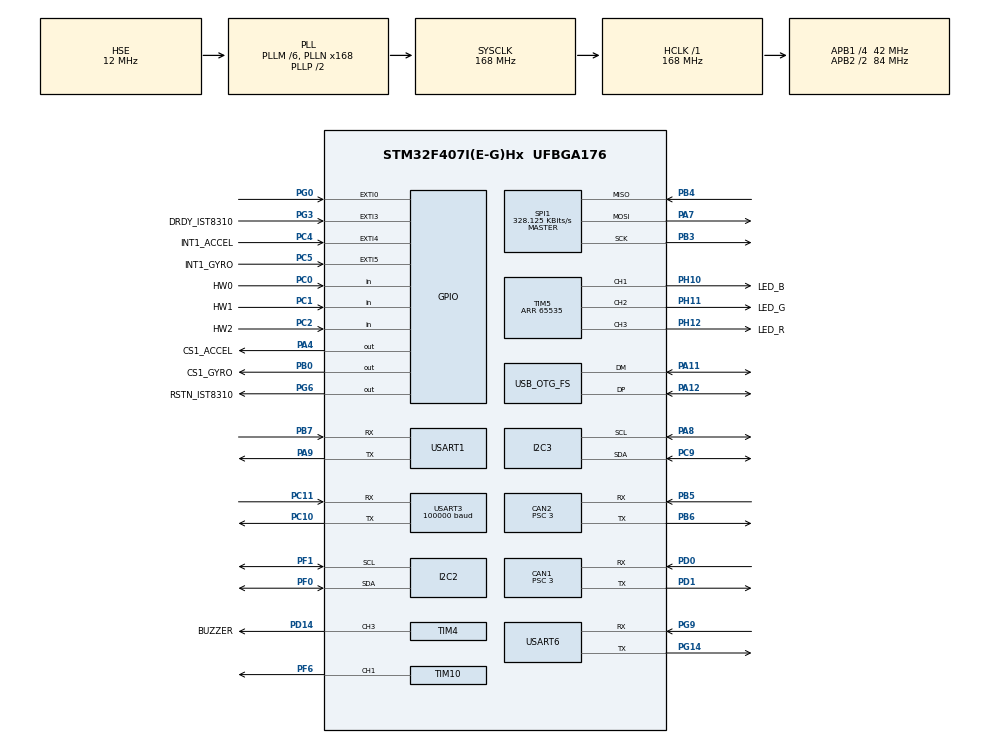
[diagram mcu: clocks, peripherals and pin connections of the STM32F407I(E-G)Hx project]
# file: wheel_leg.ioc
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CAN1.BS1=CAN_BS1_10TQ
CAN1.BS2=CAN_BS2_3TQ
CAN1.CalculateBaudRate=1000000
CAN1.CalculateTimeBit=1000
CAN1.CalculateTimeQuantum=71.42857142857143
CAN1.NART=ENABLE
CAN1.Prescaler=3
CAN2.BS1=CAN_BS1_10TQ
CAN2.BS2=CAN_BS2_3TQ
CAN2.CalculateBaudRate=1000000
CAN2.CalculateTimeBit=1000
CAN2.CalculateTimeQuantum=71.42857142857143
CAN2.NART=ENABLE
CAN2.Prescaler=3
Dma.Request0=USART3_RX
Dma.Request1=SPI1_RX
Dma.Request2=SPI1_TX
Dma.Request3=USART1_RX
Dma.Request4=USART1_TX
Dma.Request5=USART6_TX
Dma.Request6=USART6_RX
Dma.SPI1_RX.1.Direction=DMA_PERIPH_TO_MEMORY
Dma.SPI1_RX.1.FIFOMode=DMA_FIFOMODE_DISABLE
Dma.SPI1_RX.1.Instance=DMA2_Stream2
Dma.SPI1_RX.1.MemDataAlignment=DMA_MDATAALIGN_BYTE
Dma.SPI1_RX.1.MemInc=DMA_MINC_ENABLE
Dma.SPI1_RX.1.Mode=DMA_NORMAL
Dma.SPI1_RX.1.PeriphDataAlignment=DMA_PDATAALIGN_BYTE
Dma.SPI1_RX.1.PeriphInc=DMA_PINC_DISABLE
Dma.SPI1_RX.1.Priority=DMA_PRIORITY_VERY_HIGH
Dma.SPI1_TX.2.Direction=DMA_MEMORY_TO_PERIPH
Dma.SPI1_TX.2.FIFOMode=DMA_FIFOMODE_DISABLE
Dma.SPI1_TX.2.Instance=DMA2_Stream3
Dma.SPI1_TX.2.MemDataAlignment=DMA_MDATAALIGN_BYTE
Dma.SPI1_TX.2.MemInc=DMA_MINC_ENABLE
Dma.SPI1_TX.2.Mode=DMA_NORMAL
Dma.SPI1_TX.2.PeriphDataAlignment=DMA_PDATAALIGN_BYTE
Dma.SPI1_TX.2.PeriphInc=DMA_PINC_DISABLE
Dma.SPI1_TX.2.Priority=DMA_PRIORITY_HIGH
Dma.USART1_RX.3.Direction=DMA_PERIPH_TO_MEMORY
Dma.USART1_RX.3.FIFOMode=DMA_FIFOMODE_DISABLE
Dma.USART1_RX.3.Instance=DMA2_Stream5
Dma.USART1_RX.3.MemDataAlignment=DMA_MDATAALIGN_BYTE
Dma.USART1_RX.3.MemInc=DMA_MINC_ENABLE
Dma.USART1_RX.3.Mode=DMA_NORMAL
Dma.USART1_RX.3.PeriphDataAlignment=DMA_PDATAALIGN_BYTE
Dma.USART1_RX.3.PeriphInc=DMA_PINC_DISABLE
Dma.USART1_RX.3.Priority=DMA_PRIORITY_HIGH
Dma.USART1_TX.4.Direction=DMA_MEMORY_TO_PERIPH
Dma.USART1_TX.4.FIFOMode=DMA_FIFOMODE_DISABLE
Dma.USART1_TX.4.Instance=DMA2_Stream7
Dma.USART1_TX.4.MemDataAlignment=DMA_MDATAALIGN_BYTE
Dma.USART1_TX.4.MemInc=DMA_MINC_ENABLE
Dma.USART1_TX.4.Mode=DMA_NORMAL
Dma.USART1_TX.4.PeriphDataAlignment=DMA_PDATAALIGN_BYTE
Dma.USART1_TX.4.PeriphInc=DMA_PINC_DISABLE
Dma.USART1_TX.4.Priority=DMA_PRIORITY_MEDIUM
Dma.USART3_RX.0.Direction=DMA_PERIPH_TO_MEMORY
Dma.USART3_RX.0.FIFOMode=DMA_FIFOMODE_DISABLE
Dma.USART3_RX.0.Instance=DMA1_Stream1
Dma.USART3_RX.0.MemDataAlignment=DMA_MDATAALIGN_BYTE
Dma.USART3_RX.0.MemInc=DMA_MINC_ENABLE
Dma.USART3_RX.0.Mode=DMA_NORMAL
Dma.USART3_RX.0.PeriphDataAlignment=DMA_PDATAALIGN_BYTE
Dma.USART3_RX.0.PeriphInc=DMA_PINC_DISABLE
Dma.USART3_RX.0.Priority=DMA_PRIORITY_VERY_HIGH
Dma.USART6_RX.6.Direction=DMA_PERIPH_TO_MEMORY
Dma.USART6_RX.6.FIFOMode=DMA_FIFOMODE_DISABLE
Dma.USART6_RX.6.Instance=DMA2_Stream1
Dma.USART6_RX.6.MemDataAlignment=DMA_MDATAALIGN_BYTE
Dma.USART6_RX.6.MemInc=DMA_MINC_ENABLE
Dma.USART6_RX.6.Mode=DMA_NORMAL
Dma.USART6_RX.6.PeriphDataAlignment=DMA_PDATAALIGN_BYTE
Dma.USART6_RX.6.PeriphInc=DMA_PINC_DISABLE
Dma.USART6_RX.6.Priority=DMA_PRIORITY_HIGH
Dma.USART6_TX.5.Direction=DMA_MEMORY_TO_PERIPH
Dma.USART6_TX.5.FIFOMode=DMA_FIFOMODE_DISABLE
Dma.USART6_TX.5.Instance=DMA2_Stream6
Dma.USART6_TX.5.MemDataAlignment=DMA_MDATAALIGN_BYTE
Dma.USART6_TX.5.MemInc=DMA_MINC_ENABLE
Dma.USART6_TX.5.Mode=DMA_NORMAL
Dma.USART6_TX.5.PeriphDataAlignment=DMA_PDATAALIGN_BYTE
Dma.USART6_TX.5.PeriphInc=DMA_PINC_DISABLE
Dma.USART6_TX.5.Priority=DMA_PRIORITY_MEDIUM
FREERTOS.INCLUDE_eTaskGetState=1
FREERTOS.INCLUDE_pcTaskGetTaskName=1
FREERTOS.INCLUDE_uxTaskGetStackHighWaterMark=1
FREERTOS.INCLUDE_uxTaskGetStackHighWaterMark2=0
FREERTOS.INCLUDE_vTaskCleanUpResources=1
FREERTOS.INCLUDE_vTaskDelayUntil=1
FREERTOS.INCLUDE_xEventGroupSetBitFromISR=1
FREERTOS.INCLUDE_xQueueGetMutexHolder=1
FREERTOS.INCLUDE_xSemaphoreGetMutexHolder=1
FREERTOS.INCLUDE_xTaskAbortDelay=1
FREERTOS.INCLUDE_xTaskGetCurrentTaskHandle=1
FREERTOS.INCLUDE_xTaskGetHandle=1
FREERTOS.INCLUDE_xTimerPendFunctionCall=1
FREERTOS.Tasks01=defaultTask,0,128,StartDefaultTask,Default,NULL,Dynamic,NULL,NULL
FREERTOS.configENABLE_FPU=1
FREERTOS.configGENERATE_RUN_TIME_STATS=0
FREERTOS.configTOTAL_HEAP_SIZE=24576
FREERTOS.configUSE_NEWLIB_REENTRANT=1
FREERTOS.configUSE_TIMERS=1
I2C3.I2C_Mode=I2C_Fast
Mcu.Family=STM32F4
Mcu.Name=STM32F407I(E-G)Hx
Mcu.Package=UFBGA176
NVIC.CAN1_RX0_IRQn=true\:5\:0\:false\:false\:true\:true\:true\:true\:true
NVIC.CAN1_TX_IRQn=true\:5\:0\:false\:false\:true\:true\:true\:true\:true
NVIC.CAN2_RX0_IRQn=true\:5\:0\:false\:false\:true\:true\:true\:true\:true
NVIC.CAN2_TX_IRQn=true\:5\:0\:false\:false\:true\:true\:true\:true\:true
NVIC.DMA1_Stream1_IRQn=true\:5\:0\:false\:false\:true\:true\:false\:true\:true
NVIC.DMA2_Stream1_IRQn=true\:5\:0\:false\:false\:true\:true\:false\:true\:true
NVIC.DMA2_Stream2_IRQn=true\:5\:0\:false\:false\:true\:false\:false\:true\:true
NVIC.DMA2_Stream3_IRQn=true\:5\:0\:false\:false\:true\:true\:false\:true\:true
NVIC.DMA2_Stream5_IRQn=true\:5\:0\:false\:false\:true\:true\:false\:true\:true
NVIC.DMA2_Stream6_IRQn=true\:5\:0\:false\:false\:true\:true\:false\:true\:true
NVIC.DMA2_Stream7_IRQn=true\:5\:0\:false\:false\:true\:true\:false\:true\:true
NVIC.EXTI0_IRQn=true\:5\:0\:false\:false\:true\:true\:true\:true\:true
NVIC.EXTI3_IRQn=true\:5\:0\:false\:false\:true\:true\:true\:true\:true
NVIC.EXTI4_IRQn=true\:5\:0\:false\:false\:true\:true\:true\:true\:true
NVIC.EXTI9_5_IRQn=true\:5\:0\:false\:false\:true\:false\:true\:true\:true
NVIC.OTG_FS_IRQn=true\:5\:0\:false\:false\:true\:true\:false\:true\:true
NVIC.PriorityGroup=NVIC_PRIORITYGROUP_4
NVIC.TIM2_IRQn=true\:15\:0\:false\:false\:true\:false\:false\:true\:true
NVIC.TimeBase=TIM2_IRQn
NVIC.TimeBaseIP=TIM2
NVIC.USART1_IRQn=true\:5\:0\:false\:false\:true\:true\:true\:true\:true
NVIC.USART3_IRQn=true\:5\:0\:false\:false\:false\:true\:true\:true\:true
NVIC.USART6_IRQn=true\:5\:0\:false\:false\:true\:true\:true\:true\:true
PA11.Mode=Device_Only
PA11.Signal=USB_OTG_FS_DM
PA12.Mode=Device_Only
PA12.Signal=USB_OTG_FS_DP
PA13.Mode=Serial_Wire
PA13.Signal=SYS_JTMS-SWDIO
PA14.Mode=Serial_Wire
PA14.Signal=SYS_JTCK-SWCLK
PA4.GPIO_Label=CS1_ACCEL
PA4.GPIO_PuPd=GPIO_PULLUP
PA4.GPIO_Speed=GPIO_SPEED_FREQ_HIGH
PA4.PinState=GPIO_PIN_SET
PA4.Signal=GPIO_Output
PA7.Mode=Full_Duplex_Master
PA7.Signal=SPI1_MOSI
PA8.Mode=I2C
PA8.Signal=I2C3_SCL
PA9.Mode=Asynchronous
PA9.Signal=USART1_TX
PB0.GPIO_Label=CS1_GYRO
PB0.GPIO_PuPd=GPIO_PULLUP
PB0.GPIO_Speed=GPIO_SPEED_FREQ_HIGH
PB0.PinState=GPIO_PIN_SET
PB0.Signal=GPIO_Output
PB3.Mode=Full_Duplex_Master
PB3.Signal=SPI1_SCK
PB4.Mode=Full_Duplex_Master
PB4.Signal=SPI1_MISO
PB5.Mode=CAN_Activate
PB5.Signal=CAN2_RX
PB6.Mode=CAN_Activate
PB6.Signal=CAN2_TX
PB7.Mode=Asynchronous
PB7.Signal=USART1_RX
PC0.GPIO_Label=HW0
PC0.Signal=GPIO_Input
PC1.GPIO_Label=HW1
PC1.Signal=GPIO_Input
PC10.Mode=Asynchronous
PC10.Signal=USART3_TX
PC11.Mode=Asynchronous
PC11.Signal=USART3_RX
PC2.GPIO_Label=HW2
PC2.Signal=GPIO_Input
PC4.GPIO_Label=INT1_ACCEL
PC4.GPIO_ModeDefaultEXTI=GPIO_MODE_IT_FALLING
PC4.GPIO_PuPd=GPIO_PULLUP
PC4.Signal=GPXTI4
PC5.GPIO_Label=INT1_GYRO
PC5.GPIO_ModeDefaultEXTI=GPIO_MODE_IT_FALLING
PC5.GPIO_PuPd=GPIO_PULLUP
PC5.Signal=GPXTI5
PC9.Mode=I2C
PC9.Signal=I2C3_SDA
PD0.Mode=CAN_Activate
PD0.Signal=CAN1_RX
PD1.Mode=CAN_Activate
PD1.Signal=CAN1_TX
PD14.GPIO_Label=BUZZER
PD14.GPIO_PuPd=GPIO_PULLUP
PD14.GPIO_Speed=GPIO_SPEED_FREQ_VERY_HIGH
PD14.Signal=S_TIM4_CH3
PF0.Mode=I2C
PF0.Signal=I2C2_SDA
PF1.Mode=I2C
PF1.Signal=I2C2_SCL
PF6.GPIO_PuPd=GPIO_PULLUP
PF6.GPIO_Speed=GPIO_SPEED_FREQ_HIGH
PF6.Signal=S_TIM10_CH1
PG0.GPIO_ModeDefaultEXTI=GPIO_MODE_IT_FALLING
PG0.GPIO_PuPd=GPIO_PULLUP
PG0.Signal=GPXTI0
PG14.Mode=Asynchronous
PG14.Signal=USART6_TX
PG3.GPIO_Label=DRDY_IST8310
PG3.GPIO_ModeDefaultEXTI=GPIO_MODE_IT_FALLING
PG3.GPIO_PuPd=GPIO_PULLUP
PG3.Signal=GPXTI3
PG6.GPIO_Label=RSTN_IST8310
PG6.GPIO_ModeDefaultOutputPP=GPIO_MODE_OUTPUT_PP
PG6.GPIO_PuPd=GPIO_PULLUP
PG6.GPIO_Speed=GPIO_SPEED_FREQ_MEDIUM
PG6.PinState=GPIO_PIN_SET
PG6.Signal=GPIO_Output
PG9.Mode=Asynchronous
PG9.Signal=USART6_RX
PH0-OSC_IN.Mode=HSE-External-Oscillator
PH0-OSC_IN.Signal=RCC_OSC_IN
PH1-OSC_OUT.Mode=HSE-External-Oscillator
PH1-OSC_OUT.Signal=RCC_OSC_OUT
PH10.GPIO_Label=LED_B
PH10.GPIO_PuPd=GPIO_PULLUP
PH10.GPIO_Speed=GPIO_SPEED_FREQ_HIGH
PH10.Signal=S_TIM5_CH1
PH11.GPIO_Label=LED_G
PH11.GPIO_PuPd=GPIO_PULLUP
PH11.GPIO_Speed=GPIO_SPEED_FREQ_HIGH
PH11.Signal=S_TIM5_CH2
PH12.GPIO_Label=LED_R
PH12.GPIO_PuPd=GPIO_PULLUP
PH12.GPIO_Speed=GPIO_SPEED_FREQ_HIGH
PH12.Signal=S_TIM5_CH3
ProjectManager.HeapSize=0x1000
ProjectManager.StackSize=0x1000
ProjectManager.TargetToolchain=STM32CubeIDE
RCC.48MHZClocksFreq_Value=48000000
RCC.AHBFreq_Value=168000000
RCC.APB1CLKDivider=RCC_HCLK_DIV4
RCC.APB1Freq_Value=42000000
RCC.APB1TimFreq_Value=84000000
RCC.APB2CLKDivider=RCC_HCLK_DIV2
RCC.APB2Freq_Value=84000000
RCC.APB2TimFreq_Value=168000000
RCC.CortexFreq_Value=168000000
RCC.HCLKFreq_Value=168000000
RCC.HSE_VALUE=12000000
RCC.HSI_VALUE=16000000
RCC.LSE_VALUE=32768
RCC.PLLM=6
RCC.PLLN=168
RCC.PLLQ=7
RCC.SYSCLKFreq_VALUE=168000000
RCC.SYSCLKSource=RCC_SYSCLKSOURCE_PLLCLK
RCC.VCOOutputFreq_Value=336000000
SH.S_TIM10_CH1.0=TIM10_CH1,PWM Generation1 CH1
SH.S_TIM4_CH3.0=TIM4_CH3,PWM Generation3 CH3
SH.S_TIM5_CH1.0=TIM5_CH1,PWM Generation1 CH1
SH.S_TIM5_CH2.0=TIM5_CH2,PWM Generation2 CH2
SH.S_TIM5_CH3.0=TIM5_CH3,PWM Generation3 CH3
SPI1.BaudRatePrescaler=SPI_BAUDRATEPRESCALER_256
SPI1.CLKPhase=SPI_PHASE_2EDGE
SPI1.CLKPolarity=SPI_POLARITY_HIGH
SPI1.CalculateBaudRate=328.125 KBits/s
SPI1.Direction=SPI_DIRECTION_2LINES
SPI1.Mode=SPI_MODE_MASTER
SPI1.VirtualType=VM_MASTER
STMicroelectronics.X-CUBE-ALGOBUILD.1.3.0.LibraryCcDSPOoLibraryJjDSPOoLibrary=true
TIM10.Channel=TIM_CHANNEL_1
TIM10.Period=4999
TIM10.Prescaler=0
TIM4.Channel-PWM\ Generation3\ CH3=TIM_CHANNEL_3
TIM4.Prescaler=167
TIM5.Channel-PWM\ Generation1\ CH1=TIM_CHANNEL_1
TIM5.Channel-PWM\ Generation2\ CH2=TIM_CHANNEL_2
TIM5.Channel-PWM\ Generation3\ CH3=TIM_CHANNEL_3
TIM5.Period=65535
USART1.VirtualMode=VM_ASYNC
USART3.BaudRate=100000
USART3.Parity=PARITY_EVEN
USART3.VirtualMode=VM_ASYNC
USART6.VirtualMode=VM_ASYNC
USB_DEVICE.CLASS_NAME_FS=CDC
USB_DEVICE.VirtualMode-CDC_FS=Cdc
USB_DEVICE.VirtualModeFS=Cdc_FS
USB_OTG_FS.VirtualMode=Device_Only
VP_FREERTOS_VS_CMSIS_V1.Mode=CMSIS_V1
VP_STMicroelectronics.X-CUBE-ALGOBUILD_VS_DSPOoLibraryJjLibrary_1.3.0_1.3.0.Mode=DSPOoLibraryJjLibrary
VP_SYS_VS_tim2.Mode=TIM2
VP_TIM10_VS_ClockSourceINT.Mode=Enable_Timer
VP_TIM4_VS_ClockSourceINT.Mode=Internal
VP_TIM5_VS_ClockSourceINT.Mode=Internal
VP_USB_DEVICE_VS_USB_DEVICE_CDC_FS.Mode=CDC_FS
board=custom

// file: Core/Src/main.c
/* USER CODE BEGIN Header */
/**
  ******************************************************************************
  * @file           : main.c
  * @brief          : Main program body
  ******************************************************************************
  * @attention
  *
  * Copyright (c) 2024 STMicroelectronics.
  * All rights reserved.
  *
  * This software is licensed under terms that can be found in the LICENSE file
  * in the root directory of this software component.
  * If no LICENSE file comes with this software, it is provided AS-IS.
  *
  ******************************************************************************
  */
/* USER CODE END Header */
#include "main.h"
#include "cmsis_os.h"
#include "can.h"
#include "dma.h"
#include "i2c.h"
#include "spi.h"
#include "tim.h"
#include "usart.h"
#include "usb_device.h"
#include "gpio.h"

/* USER CODE BEGIN Includes */
#include "delay.h"
#include "can_device.h"
#include "remote.h"
#include "../../User/App/Referee/Referee.h"
#include "../../User/Bsp/usart/bsp_usart.h"
/* USER CODE END Includes */

void SystemClock_Config(void);
void MX_FREERTOS_Init(void);

int main(void)
{

  /* MCU Configuration--------------------------------------------------------*/

  /* Reset of all peripherals, Initializes the Flash interface and the Systick. */
  HAL_Init();

  /* Configure the system clock */
  SystemClock_Config();

  /* Initialize all configured peripherals */
  MX_GPIO_Init();
  MX_DMA_Init();
  MX_USART3_UART_Init();
  MX_CAN1_Init();
  MX_CAN2_Init();
  MX_SPI1_Init();
  MX_I2C3_Init();
  MX_TIM4_Init();
  MX_TIM5_Init();
  MX_TIM10_Init();
  MX_I2C2_Init();
  MX_USART1_UART_Init();
  MX_USART6_UART_Init();
  /* USER CODE BEGIN 2 */
  can_filter_init();
  delay_init();
  remote_control_init();
    usart6_init(&usart6_buf[0], REFEREE_BUFFER_SIZE);
    usart1_init(&usart1_buf[0], REFEREE_BUFFER_SIZE);
  /* USER CODE END 2 */

  /* Call init function for freertos objects (in freertos.c) */
  MX_FREERTOS_Init();

  /* Start scheduler */
  osKernelStart();

  /* We should never get here as control is now taken by the scheduler */
  /* Infinite loop */
  while (1)
  {

  }
}

void SystemClock_Config(void)
{
  RCC_OscInitTypeDef RCC_OscInitStruct = {0};
  RCC_ClkInitTypeDef RCC_ClkInitStruct = {0};

  /** Configure the main internal regulator output voltage
  */
  __HAL_RCC_PWR_CLK_ENABLE();
  __HAL_PWR_VOLTAGESCALING_CONFIG(PWR_REGULATOR_VOLTAGE_SCALE1);

  /** Initializes the RCC Oscillators according to the specified parameters
  * in the RCC_OscInitTypeDef structure.
  */
  RCC_OscInitStruct.OscillatorType = RCC_OSCILLATORTYPE_HSE;
  RCC_OscInitStruct.HSEState = RCC_HSE_ON;
  RCC_OscInitStruct.PLL.PLLState = RCC_PLL_ON;
  RCC_OscInitStruct.PLL.PLLSource = RCC_PLLSOURCE_HSE;
  RCC_OscInitStruct.PLL.PLLM = 6;
  RCC_OscInitStruct.PLL.PLLN = 168;
  RCC_OscInitStruct.PLL.PLLP = RCC_PLLP_DIV2;
  RCC_OscInitStruct.PLL.PLLQ = 7;
  if (HAL_RCC_OscConfig(&RCC_OscInitStruct) != HAL_OK)
  {
    Error_Handler();
  }

  /** Initializes the CPU, AHB and APB buses clocks
  */
  RCC_ClkInitStruct.ClockType = RCC_CLOCKTYPE_HCLK|RCC_CLOCKTYPE_SYSCLK
                              |RCC_CLOCKTYPE_PCLK1|RCC_CLOCKTYPE_PCLK2;
  RCC_ClkInitStruct.SYSCLKSource = RCC_SYSCLKSOURCE_PLLCLK;
  RCC_ClkInitStruct.AHBCLKDivider = RCC_SYSCLK_DIV1;
  RCC_ClkInitStruct.APB1CLKDivider = RCC_HCLK_DIV4;
  RCC_ClkInitStruct.APB2CLKDivider = RCC_HCLK_DIV2;

  if (HAL_RCC_ClockConfig(&RCC_ClkInitStruct, FLASH_LATENCY_5) != HAL_OK)
  {
    Error_Handler();
  }
}

void HAL_TIM_PeriodElapsedCallback(TIM_HandleTypeDef *htim)
{
  if (htim->Instance == TIM2) {
    HAL_IncTick();
  }
}

void Error_Handler(void)
{
  __disable_irq();
  while (1)
  {
  }
}

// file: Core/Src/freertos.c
/* USER CODE BEGIN Header */
/**
  ******************************************************************************
  * File Name          : freertos.c
  * Description        : Code for freertos applications
  ******************************************************************************
  * @attention
  *
  * Copyright (c) 2024 STMicroelectronics.
  * All rights reserved.
  *
  * This software is licensed under terms that can be found in the LICENSE file
  * in the root directory of this software component.
  * If no LICENSE file comes with this software, it is provided AS-IS.
  *
  ******************************************************************************
  */
/* USER CODE END Header */

#include "FreeRTOS.h"
#include "task.h"
#include "main.h"
#include "cmsis_os.h"

/* USER CODE BEGIN Includes */
#include "Atti.h"
#include "Calibrate.h"
#include "chassis.h"
#include "robot_def.h"
#include "gimbal.h"
#include "BearCap.h"
#include "Referee.h"
/* USER CODE END Includes */

/* USER CODE BEGIN Variables */
osThreadId attiTaskHandle;
osThreadId calibrateTaskHandle;
osThreadId chassisTaskHandle;
osThreadId gimbalTaskHandle;
osThreadId capTaskHandle;
osThreadId UI_task_handle;
/* USER CODE END Variables */
osThreadId defaultTaskHandle;

void StartDefaultTask(void const * argument);

extern void MX_USB_DEVICE_Init(void);
void MX_FREERTOS_Init(void); /* (MISRA C 2004 rule 8.1) */

/* GetIdleTaskMemory prototype (linked to static allocation support) */
void vApplicationGetIdleTaskMemory( StaticTask_t **ppxIdleTaskTCBBuffer, StackType_t **ppxIdleTaskStackBuffer, uint32_t *pulIdleTaskStackSize );

/* GetTimerTaskMemory prototype (linked to static allocation support) */
void vApplicationGetTimerTaskMemory( StaticTask_t **ppxTimerTaskTCBBuffer, StackType_t **ppxTimerTaskStackBuffer, uint32_t *pulTimerTaskStackSize );

/* USER CODE BEGIN GET_IDLE_TASK_MEMORY */
static StaticTask_t xIdleTaskTCBBuffer;
static StackType_t xIdleStack[configMINIMAL_STACK_SIZE];

void vApplicationGetIdleTaskMemory(StaticTask_t **ppxIdleTaskTCBBuffer,
                                   StackType_t **ppxIdleTaskStackBuffer,
                                   uint32_t *pulIdleTaskStackSize) {
  *ppxIdleTaskTCBBuffer = &xIdleTaskTCBBuffer;
  *ppxIdleTaskStackBuffer = &xIdleStack[0];
  *pulIdleTaskStackSize = configMINIMAL_STACK_SIZE;
  /* place for user code */
}
/* USER CODE END GET_IDLE_TASK_MEMORY */

/* USER CODE BEGIN GET_TIMER_TASK_MEMORY */
static StaticTask_t xTimerTaskTCBBuffer;
static StackType_t xTimerStack[configTIMER_TASK_STACK_DEPTH];

void vApplicationGetTimerTaskMemory(StaticTask_t **ppxTimerTaskTCBBuffer,
                                    StackType_t **ppxTimerTaskStackBuffer,
                                    uint32_t *pulTimerTaskStackSize) {
  *ppxTimerTaskTCBBuffer = &xTimerTaskTCBBuffer;
  *ppxTimerTaskStackBuffer = &xTimerStack[0];
  *pulTimerTaskStackSize = configTIMER_TASK_STACK_DEPTH;
  /* place for user code */
}
/* USER CODE END GET_TIMER_TASK_MEMORY */

void MX_FREERTOS_Init(void) {

  /* Create the thread(s) */
  /* definition and creation of defaultTask */
  osThreadDef(defaultTask, StartDefaultTask, osPriorityNormal, 0, 128);
  defaultTaskHandle = osThreadCreate(osThread(defaultTask), NULL);

  /* USER CODE BEGIN RTOS_THREADS */
  osThreadDef(calibrateTask, calibrate_task, osPriorityNormal, 0, 512);
  calibrateTaskHandle = osThreadCreate(osThread(calibrateTask), NULL);

  osThreadDef(attiTask, INS_task, osPriorityRealtime, 0, 1024);
  attiTaskHandle = osThreadCreate(osThread(attiTask), NULL);

  osThreadDef(chassisTask, chassis_task, osPriorityAboveNormal, 0, 1024);
  chassisTaskHandle = osThreadCreate(osThread(chassisTask), NULL);

  osThreadDef(gimbalTask, gimbal_task, osPriorityAboveNormal, 0, 1024);
  gimbalTaskHandle = osThreadCreate(osThread(gimbalTask), NULL);

  osThreadDef(capTask,cap_task,osPriorityAboveNormal,0,256);
  capTaskHandle = osThreadCreate(osThread(capTask),NULL);

  osThreadDef(UIPaintTask, UI_paint_task,osPriorityNormal,0,256);
  UI_task_handle= osThreadCreate(osThread(UIPaintTask),NULL);

  /* USER CODE END RTOS_THREADS */

}

void StartDefaultTask(void const * argument)
{
  /* init code for USB_DEVICE */
  MX_USB_DEVICE_Init();
  for (;;) {
    osDelay(1);
  }
}
